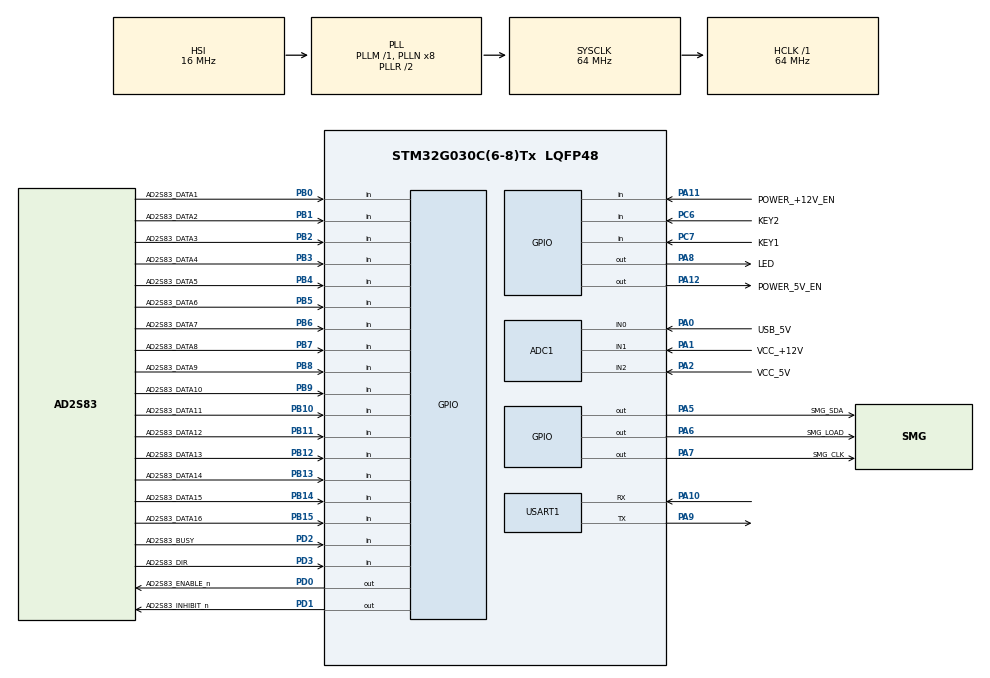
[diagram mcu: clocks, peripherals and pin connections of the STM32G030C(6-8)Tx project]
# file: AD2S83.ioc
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ADC1.Channel-0\#ChannelRegularConversion=ADC_CHANNEL_0
ADC1.Channel-1\#ChannelRegularConversion=ADC_CHANNEL_1
ADC1.Channel-2\#ChannelRegularConversion=ADC_CHANNEL_2
ADC1.DiscontinuousConvMode=ENABLE
ADC1.NbrOfConversion=3
ADC1.NbrOfConversionFlag=1
ADC1.Rank-0\#ChannelRegularConversion=1
ADC1.Rank-1\#ChannelRegularConversion=2
ADC1.Rank-2\#ChannelRegularConversion=3
ADC1.SamplingTime-0\#ChannelRegularConversion=ADC_SAMPLINGTIME_COMMON_1
ADC1.SamplingTime-1\#ChannelRegularConversion=ADC_SAMPLINGTIME_COMMON_1
ADC1.SamplingTime-2\#ChannelRegularConversion=ADC_SAMPLINGTIME_COMMON_1
ADC1.SamplingTimeCommon1=ADC_SAMPLETIME_79CYCLES_5
ADC1.SamplingTimeCommon2=ADC_SAMPLETIME_79CYCLES_5
ADC1.SelectedChannel=ADC_CHANNEL_0|ADC_CHANNEL_1|ADC_CHANNEL_2
ADC1.master=1
Mcu.Family=STM32G0
Mcu.Name=STM32G030C(6-8)Tx
Mcu.Package=LQFP48
PA0.GPIO_Label=USB_5V
PA0.Mode=IN0
PA0.Signal=ADC1_IN0
PA1.GPIO_Label=VCC_+12V
PA1.Mode=IN1
PA1.Signal=ADC1_IN1
PA10.Mode=Asynchronous
PA10.Signal=USART1_RX
PA11\ [PA9].GPIO_Label=POWER_+12V_EN
PA11\ [PA9].Signal=GPIO_Input
PA12\ [PA10].GPIO_Label=POWER_5V_EN
PA12\ [PA10].Signal=GPIO_Output
PA13.Mode=Serial_Wire
PA13.Signal=SYS_SWDIO
PA14-BOOT0.Mode=Serial_Wire
PA14-BOOT0.Signal=SYS_SWCLK
PA2.GPIO_Label=VCC_5V
PA2.Mode=IN2
PA2.Signal=ADC1_IN2
PA5.GPIO_Label=SMG_SDA
PA5.GPIO_Speed=GPIO_SPEED_FREQ_VERY_HIGH
PA5.Signal=GPIO_Output
PA6.GPIO_Label=SMG_LOAD
PA6.Signal=GPIO_Output
PA7.GPIO_Label=SMG_CLK
PA7.GPIO_Speed=GPIO_SPEED_FREQ_VERY_HIGH
PA7.Signal=GPIO_Output
PA8.GPIO_Label=LED
PA8.Signal=GPIO_Output
PA9.Mode=Asynchronous
PA9.Signal=USART1_TX
PB0.GPIO_Label=AD2S83_DATA1
PB0.Signal=GPIO_Input
PB1.GPIO_Label=AD2S83_DATA2
PB1.Signal=GPIO_Input
PB10.GPIO_Label=AD2S83_DATA11
PB10.Signal=GPIO_Input
PB11.GPIO_Label=AD2S83_DATA12
PB11.Signal=GPIO_Input
PB12.GPIO_Label=AD2S83_DATA13
PB12.Signal=GPIO_Input
PB13.GPIO_Label=AD2S83_DATA14
PB13.Signal=GPIO_Input
PB14.GPIO_Label=AD2S83_DATA15
PB14.Signal=GPIO_Input
PB15.GPIO_Label=AD2S83_DATA16
PB15.Signal=GPIO_Input
PB2.GPIO_Label=AD2S83_DATA3
PB2.Signal=GPIO_Input
PB3.GPIO_Label=AD2S83_DATA4
PB3.Signal=GPIO_Input
PB4.GPIO_Label=AD2S83_DATA5
PB4.Signal=GPIO_Input
PB5.GPIO_Label=AD2S83_DATA6
PB5.Signal=GPIO_Input
PB6.GPIO_Label=AD2S83_DATA7
PB6.Signal=GPIO_Input
PB7.GPIO_Label=AD2S83_DATA8
PB7.Signal=GPIO_Input
PB8.GPIO_Label=AD2S83_DATA9
PB8.Signal=GPIO_Input
PB9.GPIO_Label=AD2S83_DATA10
PB9.Signal=GPIO_Input
PC6.GPIO_Label=KEY2
PC6.Signal=GPIO_Input
PC7.GPIO_Label=KEY1
PC7.Signal=GPIO_Input
PD0.GPIO_Label=AD2S83_ENABLE_n
PD0.GPIO_PuPd=GPIO_PULLUP
PD0.Signal=GPIO_Output
PD1.GPIO_Label=AD2S83_INHIBIT_n
PD1.GPIO_PuPd=GPIO_PULLUP
PD1.Signal=GPIO_Output
PD2.GPIO_Label=AD2S83_BUSY
PD2.GPIO_PuPd=GPIO_PULLUP
PD2.Signal=GPIO_Input
PD3.GPIO_Label=AD2S83_DIR
PD3.Signal=GPIO_Input
ProjectManager.HeapSize=0x200
ProjectManager.StackSize=0x400
ProjectManager.TargetToolchain=STM32CubeIDE
RCC.ADCFreq_Value=64000000
RCC.AHBFreq_Value=64000000
RCC.CortexFreq_Value=64000000
RCC.EXTERNAL_CLOCK_VALUE=12288000
RCC.HCLKFreq_Value=64000000
RCC.HSE_VALUE=8000000
RCC.HSI_VALUE=16000000
RCC.LSE_VALUE=32768
RCC.SYSCLKFreq_VALUE=64000000
RCC.SYSCLKSource=RCC_SYSCLKSOURCE_PLLCLK
RCC.VCOOutputFreq_Value=128000000
USART1.VirtualMode-Asynchronous=VM_ASYNC
board=custom

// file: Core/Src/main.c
/* USER CODE BEGIN Header */
/**
  ******************************************************************************
  * @file           : main.c
  * @brief          : Main program body
  ******************************************************************************
  * @attention
  *
  * <h2><center>&copy; Copyright (c) 2022 STMicroelectronics.
  * All rights reserved.</center></h2>
  *
  * This software component is licensed by ST under BSD 3-Clause license,
  * the "License"; You may not use this file except in compliance with the
  * License. You may obtain a copy of the License at:
  *                        opensource.org/licenses/BSD-3-Clause
  *
  ******************************************************************************
  */
/* USER CODE END Header */
#include "main.h"
#include "adc.h"
#include "usart.h"
#include "gpio.h"

/* USER CODE BEGIN Includes */
#include "AD2S83.h"
#include "SMG.h"
/* USER CODE END Includes */

void SystemClock_Config(void);

int main(void)
{
  /* USER CODE BEGIN 1 */

	float Deg=0;
	uint16_t Deg_Int = 0;
	float Deg_Float=0.0;

	uint8_t Data[]={ 1,2,3,4,5 };
  /* USER CODE END 1 */

  /* MCU Configuration--------------------------------------------------------*/

  /* Reset of all peripherals, Initializes the Flash interface and the Systick. */
  HAL_Init();

  /* Configure the system clock */
  SystemClock_Config();

  /* Initialize all configured peripherals */
  MX_GPIO_Init();
  MX_ADC1_Init();
  MX_USART1_UART_Init();
  /* USER CODE BEGIN 2 */

  //打开5V电源,12V电源不需要使能，硬件直接使能，不�???要软件控制�??
  HAL_GPIO_WritePin(POWER_5V_EN_GPIO_Port, POWER_5V_EN_Pin, GPIO_PIN_SET);

  AD2S83_Init();

  /* USER CODE END 2 */

  /* Infinite loop */
  /* USER CODE BEGIN WHILE */
  while (1) {

	//Get Deg

	Deg = AD2S83_Decode_Data_Average(300);

	//deg calibration
	Deg = Deg + 65;
	if(Deg > 360)
		Deg -= 360;

	//Deg to Deg Min Sec

	Deg_Int = (int)Deg;
	Deg_Float = (Deg - Deg_Int)*60.0;
	Data[0] = Deg_Int/100;
	Data[1] = Deg_Int%100/10;
	Data[2] = Deg_Int%10;
	Data[3] = ((int)Deg_Float)/10;
	Data[4] = ((int)Deg_Float)%10;

	//Display

	SMG_Display_Data(Data);

	HAL_GPIO_TogglePin(LED_GPIO_Port, LED_Pin);

    /* USER CODE END WHILE */

  }
}

void SystemClock_Config(void)
{
  RCC_OscInitTypeDef RCC_OscInitStruct = {0};
  RCC_ClkInitTypeDef RCC_ClkInitStruct = {0};
  RCC_PeriphCLKInitTypeDef PeriphClkInit = {0};

  /** Configure the main internal regulator output voltage
  */
  HAL_PWREx_ControlVoltageScaling(PWR_REGULATOR_VOLTAGE_SCALE1);
  /** Initializes the RCC Oscillators according to the specified parameters
  * in the RCC_OscInitTypeDef structure.
  */
  RCC_OscInitStruct.OscillatorType = RCC_OSCILLATORTYPE_HSI;
  RCC_OscInitStruct.HSIState = RCC_HSI_ON;
  RCC_OscInitStruct.HSIDiv = RCC_HSI_DIV1;
  RCC_OscInitStruct.HSICalibrationValue = RCC_HSICALIBRATION_DEFAULT;
  RCC_OscInitStruct.PLL.PLLState = RCC_PLL_ON;
  RCC_OscInitStruct.PLL.PLLSource = RCC_PLLSOURCE_HSI;
  RCC_OscInitStruct.PLL.PLLM = RCC_PLLM_DIV1;
  RCC_OscInitStruct.PLL.PLLN = 8;
  RCC_OscInitStruct.PLL.PLLP = RCC_PLLP_DIV2;
  RCC_OscInitStruct.PLL.PLLR = RCC_PLLR_DIV2;
  if (HAL_RCC_OscConfig(&RCC_OscInitStruct) != HAL_OK)
  {
    Error_Handler();
  }
  /** Initializes the CPU, AHB and APB buses clocks
  */
  RCC_ClkInitStruct.ClockType = RCC_CLOCKTYPE_HCLK|RCC_CLOCKTYPE_SYSCLK
                              |RCC_CLOCKTYPE_PCLK1;
  RCC_ClkInitStruct.SYSCLKSource = RCC_SYSCLKSOURCE_PLLCLK;
  RCC_ClkInitStruct.AHBCLKDivider = RCC_SYSCLK_DIV1;
  RCC_ClkInitStruct.APB1CLKDivider = RCC_HCLK_DIV1;

  if (HAL_RCC_ClockConfig(&RCC_ClkInitStruct, FLASH_LATENCY_2) != HAL_OK)
  {
    Error_Handler();
  }
  /** Initializes the peripherals clocks
  */
  PeriphClkInit.PeriphClockSelection = RCC_PERIPHCLK_USART1|RCC_PERIPHCLK_ADC;
  PeriphClkInit.Usart1ClockSelection = RCC_USART1CLKSOURCE_PCLK1;
  PeriphClkInit.AdcClockSelection = RCC_ADCCLKSOURCE_SYSCLK;
  if (HAL_RCCEx_PeriphCLKConfig(&PeriphClkInit) != HAL_OK)
  {
    Error_Handler();
  }
}

void Error_Handler(void)
{
  __disable_irq();
  while (1)
  {
  }
}

/************************ (C) COPYRIGHT STMicroelectronics *****END OF FILE****/
